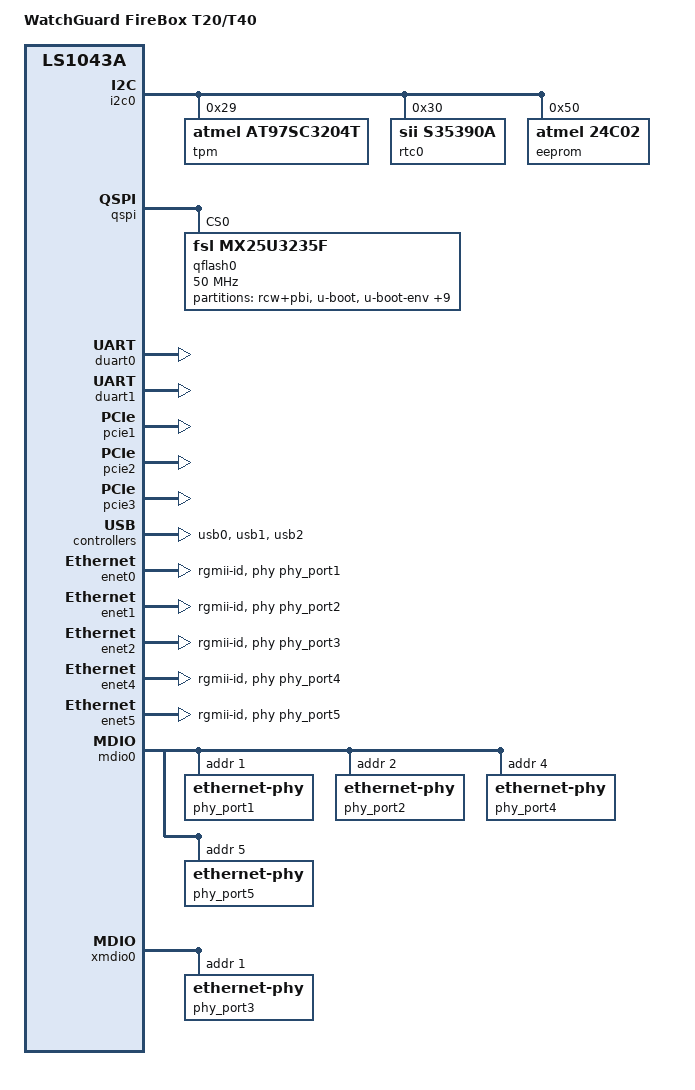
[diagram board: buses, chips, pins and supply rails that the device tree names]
// SPDX-License-Identifier: (GPL-2.0+ OR MIT)

/dts-v1/;
#include "fsl-ls1043a.dtsi"
#include <dt-bindings/gpio/gpio.h>
#include <dt-bindings/input/input.h>

/ {
	model = "WatchGuard FireBox T20/T40";
	compatible = "watchguard,firebox-t20", "watchguard,firebox-t40",
		     "fsl,ls1043a-rdb", "fsl,ls1043a";

	aliases {
		crypto = &crypto;
		serial0 = &duart0;
		serial1 = &duart1;
		serial2 = &duart2;
		serial3 = &duart3;
	};

	chosen {
		stdout-path = "serial0:115200n8";
	};

	leds {
		compatible = "gpio-leds";
		status = "disabled";
	};

	keys {
		compatible = "gpio-keys-polled";
		#address-cells = <1>;
		#size-cells = <0>;
		poll-interval = <1000>;
		status = "disabled";
	};

};

&esdhc {
	mmc-hs200-1_8v;
	sd-uhs-sdr104;
	sd-uhs-sdr50;
	sd-uhs-sdr25;
	sd-uhs-sdr12;
};

&i2c0 {
	tpm@29 {
		reg = <0x29>;
		label = "tpm";
		compatible = "atmel,at97sc3204t";
	};

	rtc0: rtc@30 {
		reg = <0x30>;
		compatible = "sii,s35390a";
	};

	eeprom: eeprom@50 {
		reg = <0x50>;
		compatible = "atmel,24c02";
		pagesize = <1>;
	};
};

&qspi {
	status = "okay";
	bus-num = <0>;

	qflash0: flash@0 {
		compatible = "fsl,mx25u3235f", "jedec,spi-nor";
		#address-cells = <1>;
		#size-cells = <1>;
		spi-max-frequency = <50000000>;
		spi-rx-bus-width = <4>;
		spi-tx-bus-width = <4>;
		mode = <0>;
		reg = <0>;

		partitions {
			compatible = "fixed-partitions";
			#address-cells = <1>;
			#size-cells = <1>;

			partition@0 {
				reg = <0x00 0x100000>;
				label = "rcw+pbi";
				read-only;
			};

			partition@100000 {
				reg = <0x100000 0x100000>;
				label = "u-boot";
				read-only;
			};

			partition@200000 {
				reg = <0x200000 0x10000>;
				label = "u-boot-env";
			};

			partition@210000 {
				reg = <0x210000 0x10000>;
				label = "empty-1";
				read-only;
			};

			partition@220000 {
				reg = <0x220000 0x20000>;
				label = "fman ucode";
				read-only;
			};

			partition@240000 {
				reg = <0x240000 0x40000>;
				label = "empty-2-ppa";
				read-only;
			};

			partition@280000 {
				reg = <0x280000 0x20000>;
				label = "wg-cfg0";
				read-only;
			};

			partition@2a0000 {
				reg = <0x2a0000 0x20000>;
				label = "wg-cfg1";
				read-only;
			};

			partition@2c0000 {
				reg = <0x2c0000 0x20000>;
				label = "wg-mfg";
				read-only;
			};

			partition@2e0000 {
				reg = <0x2e0000 0x20000>;
				label = "empty-3";
				read-only;
			};

			partition@300000 {
				reg = <0x300000 0x20000>;
				label = "fman-ucode-old";
				read-only;
			};

			partition@320000 {
				reg = <0x320000 0xe0000>;
				label = "wg-bootopt";
				read-only;
			};
		};
	};
};

&duart0 {
	status = "okay";
};

&duart1 {
	status = "okay";
};

&pcie1 {
	status = "okay";
};

&pcie2 {
	status = "okay";
};

&pcie3 {
	status = "okay";
};

&usb0 {
	status = "okay";
};

&usb1 {
	status = "okay";
};

&usb2 {
	status = "okay";
};

#include "fsl-ls1043-post.dtsi"

&enet0 {
	phy-handle = <&phy_port1>;
	phy-connection-type = "rgmii-id";
};

&enet1 {
	phy-handle = <&phy_port2>;
	phy-connection-type = "rgmii-id";
};

&enet2 {
	phy-handle = <&phy_port3>;
	phy-connection-type = "rgmii-id";
};

&enet3 {
	status = "disabled";
};

&enet4 {
	phy-handle = <&phy_port4>;
	phy-connection-type = "rgmii-id";
};

&enet5 {
	phy-handle = <&phy_port5>;
	phy-connection-type = "rgmii-id";
};

&enet6 {
	status = "disabled";
};

&mdio0 {
	phy_port1: ethernet-phy@1 {
		reg = <0x1>;
	};

	phy_port2: ethernet-phy@2 {
		reg = <0x2>;
	};

	phy_port4: ethernet-phy@3 {
		reg = <0x4>;
	};

	phy_port5: ethernet-phy@4 {
		reg = <0x5>;
	};
};

&xmdio0 {
	phy_port3: ethernet-phy@1 {
		reg = <0x1>;
	};
};

&uqe {
	ucc_hdlc: ucc@2000 {
		compatible = "fsl,ucc-hdlc";
		rx-clock-name = "clk8";
		tx-clock-name = "clk9";
		fsl,rx-sync-clock = "rsync_pin";
		fsl,tx-sync-clock = "tsync_pin";
		fsl,tx-timeslot-mask = <0xfffffffe>;
		fsl,rx-timeslot-mask = <0xfffffffe>;
		fsl,tdm-framer-type = "e1";
		fsl,tdm-id = <0>;
		fsl,siram-entry-id = <0>;
		fsl,tdm-interface;
	};
};
